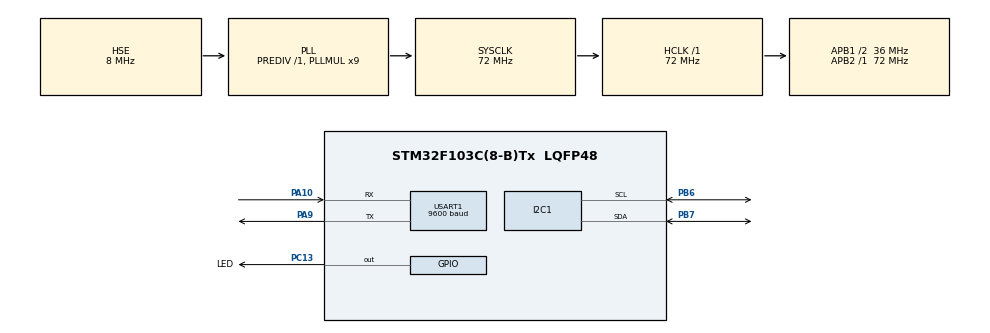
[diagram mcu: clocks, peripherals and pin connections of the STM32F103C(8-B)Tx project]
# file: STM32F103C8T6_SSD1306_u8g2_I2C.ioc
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Mcu.Family=STM32F1
Mcu.Name=STM32F103C(8-B)Tx
Mcu.Package=LQFP48
NVIC.PriorityGroup=NVIC_PRIORITYGROUP_4
PA10.Mode=Asynchronous
PA10.Signal=USART1_RX
PA13.Mode=Serial_Wire
PA13.Signal=SYS_JTMS-SWDIO
PA14.Mode=Serial_Wire
PA14.Signal=SYS_JTCK-SWCLK
PA9.Mode=Asynchronous
PA9.Signal=USART1_TX
PB6.Mode=I2C
PB6.Signal=I2C1_SCL
PB7.Mode=I2C
PB7.Signal=I2C1_SDA
PC13-TAMPER-RTC.GPIO_Label=LED
PC13-TAMPER-RTC.Signal=GPIO_Output
PD0-OSC_IN.Mode=HSE-External-Oscillator
PD0-OSC_IN.Signal=RCC_OSC_IN
PD1-OSC_OUT.Mode=HSE-External-Oscillator
PD1-OSC_OUT.Signal=RCC_OSC_OUT
ProjectManager.HeapSize=0x200
ProjectManager.StackSize=0x400
ProjectManager.TargetToolchain=Makefile
RCC.AHBFreq_Value=72000000
RCC.APB1CLKDivider=RCC_HCLK_DIV2
RCC.APB1Freq_Value=36000000
RCC.APB1TimFreq_Value=72000000
RCC.APB2Freq_Value=72000000
RCC.APB2TimFreq_Value=72000000
RCC.HCLKFreq_Value=72000000
RCC.PLLMUL=RCC_PLL_MUL9
RCC.PLLSourceVirtual=RCC_PLLSOURCE_HSE
RCC.SYSCLKFreq_VALUE=72000000
RCC.SYSCLKSource=RCC_SYSCLKSOURCE_PLLCLK
RCC.USBFreq_Value=72000000
USART1.BaudRate=9600
USART1.VirtualMode=VM_ASYNC
board=custom

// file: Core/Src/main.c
/* USER CODE BEGIN Header */
/**
 ******************************************************************************
 * @file           : main.c
 * @brief          : Main program body
 ******************************************************************************
 * @attention
 *
 * <h2><center>&copy; Copyright (c) 2023 STMicroelectronics.
 * All rights reserved.</center></h2>
 *
 * This software component is licensed by ST under BSD 3-Clause license,
 * the "License"; You may not use this file except in compliance with the
 * License. You may obtain a copy of the License at:
 *                        opensource.org/licenses/BSD-3-Clause
 *
 ******************************************************************************
 */
/* USER CODE END Header */
#include "main.h"

/* USER CODE BEGIN Includes */
#include <stdio.h>
#include "bitmaps.h"
#include "oled.h"

/* USER CODE END Includes */

I2C_HandleTypeDef hi2c1;

UART_HandleTypeDef huart1;

void SystemClock_Config(void);
static void MX_GPIO_Init(void);
static void MX_I2C1_Init(void);
static void MX_USART1_UART_Init(void);
/* USER CODE BEGIN PFP */
void Blynk_Led(void);
int _write(int file, char *data, int len);

uint32_t tick;
/* USER CODE END PFP */

/* USER CODE BEGIN 0 */
void Logo(void)
{
  u8g2_DrawBitmap(&u8g2, 0, 0, bmp_logo_ph.width / 8, bmp_logo_ph.height, bmp_logo_ph.data);
  u8g2_SendBuffer(&u8g2);
}
/* USER CODE END 0 */

int main(void)
{

  /* MCU Configuration--------------------------------------------------------*/

  /* Reset of all peripherals, Initializes the Flash interface and the Systick. */
  HAL_Init();

  /* Configure the system clock */
  SystemClock_Config();

  /* Initialize all configured peripherals */
  MX_GPIO_Init();
  MX_I2C1_Init();
  MX_USART1_UART_Init();
  /* USER CODE BEGIN 2 */
  OLED_Init();

  Logo();
  HAL_Delay(2000);

  // printf("Ready\n");

  /* USER CODE END 2 */

  /* Infinite loop */
  /* USER CODE BEGIN WHILE */
  while (1)
  {
    OLED_Refresh();
    Blynk_Led();
    if (HAL_GetTick() - tick > 1000)
    {
      u8g2_ClearBuffer(&u8g2);
      // u8g2_SetFontMode(&u8g2, 1); // Transparent
      // u8g2_SetFontDirection(&u8g2, 0);
      u8g2_SetFont(&u8g2, u8g2_font_fur11_tf);
      u8g2_DrawStr(&u8g2, 0, 10, "hello");
      // u8g2_SendBuffer(&u8g2);
      tick = HAL_GetTick();
    }

    /* USER CODE END WHILE */

  }
}

void SystemClock_Config(void)
{
  RCC_OscInitTypeDef RCC_OscInitStruct = {0};
  RCC_ClkInitTypeDef RCC_ClkInitStruct = {0};

  /** Initializes the RCC Oscillators according to the specified parameters
   * in the RCC_OscInitTypeDef structure.
   */
  RCC_OscInitStruct.OscillatorType = RCC_OSCILLATORTYPE_HSE;
  RCC_OscInitStruct.HSEState = RCC_HSE_ON;
  RCC_OscInitStruct.HSEPredivValue = RCC_HSE_PREDIV_DIV1;
  RCC_OscInitStruct.HSIState = RCC_HSI_ON;
  RCC_OscInitStruct.PLL.PLLState = RCC_PLL_ON;
  RCC_OscInitStruct.PLL.PLLSource = RCC_PLLSOURCE_HSE;
  RCC_OscInitStruct.PLL.PLLMUL = RCC_PLL_MUL9;
  if (HAL_RCC_OscConfig(&RCC_OscInitStruct) != HAL_OK)
  {
    Error_Handler();
  }
  /** Initializes the CPU, AHB and APB buses clocks
   */
  RCC_ClkInitStruct.ClockType = RCC_CLOCKTYPE_HCLK | RCC_CLOCKTYPE_SYSCLK | RCC_CLOCKTYPE_PCLK1 | RCC_CLOCKTYPE_PCLK2;
  RCC_ClkInitStruct.SYSCLKSource = RCC_SYSCLKSOURCE_PLLCLK;
  RCC_ClkInitStruct.AHBCLKDivider = RCC_SYSCLK_DIV1;
  RCC_ClkInitStruct.APB1CLKDivider = RCC_HCLK_DIV2;
  RCC_ClkInitStruct.APB2CLKDivider = RCC_HCLK_DIV1;

  if (HAL_RCC_ClockConfig(&RCC_ClkInitStruct, FLASH_LATENCY_2) != HAL_OK)
  {
    Error_Handler();
  }
}

static void MX_I2C1_Init(void)
{

  hi2c1.Instance = I2C1;
  hi2c1.Init.ClockSpeed = 400000;
  hi2c1.Init.DutyCycle = I2C_DUTYCYCLE_2;
  hi2c1.Init.OwnAddress1 = 0;
  hi2c1.Init.AddressingMode = I2C_ADDRESSINGMODE_7BIT;
  hi2c1.Init.DualAddressMode = I2C_DUALADDRESS_DISABLE;
  hi2c1.Init.OwnAddress2 = 0;
  hi2c1.Init.GeneralCallMode = I2C_GENERALCALL_DISABLE;
  hi2c1.Init.NoStretchMode = I2C_NOSTRETCH_DISABLE;
  if (HAL_I2C_Init(&hi2c1) != HAL_OK)
  {
    Error_Handler();
  }
}

static void MX_USART1_UART_Init(void)
{

  huart1.Instance = USART1;
  huart1.Init.BaudRate = 9600;
  huart1.Init.WordLength = UART_WORDLENGTH_8B;
  huart1.Init.StopBits = UART_STOPBITS_1;
  huart1.Init.Parity = UART_PARITY_NONE;
  huart1.Init.Mode = UART_MODE_TX_RX;
  huart1.Init.HwFlowCtl = UART_HWCONTROL_NONE;
  huart1.Init.OverSampling = UART_OVERSAMPLING_16;
  if (HAL_UART_Init(&huart1) != HAL_OK)
  {
    Error_Handler();
  }
}

static void MX_GPIO_Init(void)
{
  GPIO_InitTypeDef GPIO_InitStruct = {0};

  /* GPIO Ports Clock Enable */
  __HAL_RCC_GPIOC_CLK_ENABLE();
  __HAL_RCC_GPIOD_CLK_ENABLE();
  __HAL_RCC_GPIOA_CLK_ENABLE();
  __HAL_RCC_GPIOB_CLK_ENABLE();

  /*Configure GPIO pin Output Level */
  HAL_GPIO_WritePin(LED_GPIO_Port, LED_Pin, GPIO_PIN_RESET);

  /*Configure GPIO pin : LED_Pin */
  GPIO_InitStruct.Pin = LED_Pin;
  GPIO_InitStruct.Mode = GPIO_MODE_OUTPUT_PP;
  GPIO_InitStruct.Pull = GPIO_NOPULL;
  GPIO_InitStruct.Speed = GPIO_SPEED_FREQ_LOW;
  HAL_GPIO_Init(LED_GPIO_Port, &GPIO_InitStruct);
}

/* USER CODE BEGIN 4 */

/* transmit data to uart */
int _write(int file, char *data, int len)
{
  if ((file != STDOUT_FILENO) && (file != STDERR_FILENO))
  {
    errno = EBADF;
    return -1;
  }
  // uint8_t status = CDC_Transmit_FS((uint8_t *)data, len);
  uint8_t status = HAL_UART_Transmit(&huart1, (uint8_t *)data, len, 100);
  return status;
}

/* Blynk led */
void Blynk_Led(void)
{
  static uint32_t tick_blink;

  if (HAL_GetTick() - tick_blink > 1000)
  {
    LED_TOGGLE();
    tick_blink = HAL_GetTick();
  }
}

/* USER CODE END 4 */

void Error_Handler(void)
{
  __disable_irq();
  while (1)
  {
  }
}

/************************ (C) COPYRIGHT STMicroelectronics *****END OF FILE****/
